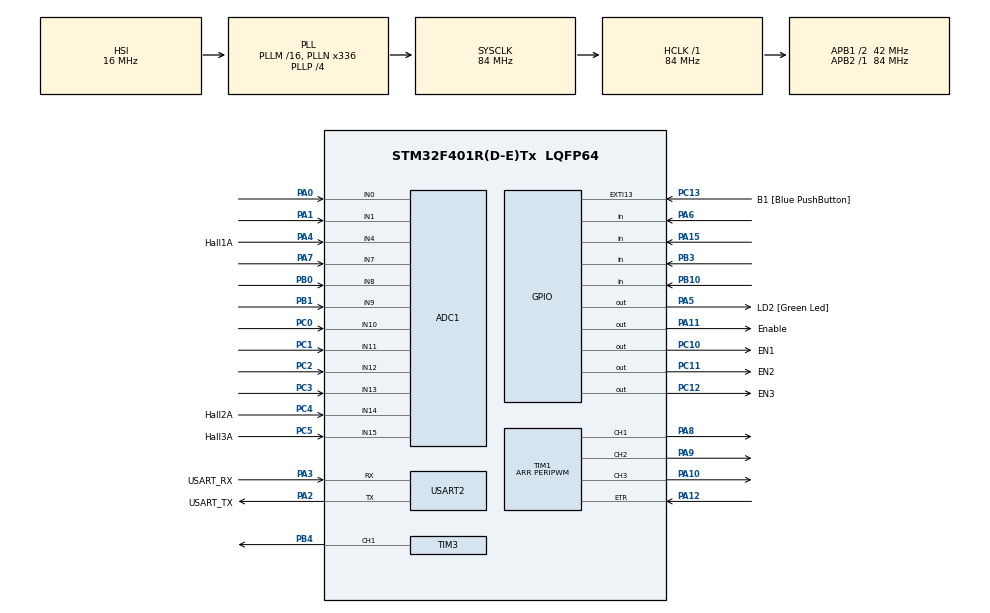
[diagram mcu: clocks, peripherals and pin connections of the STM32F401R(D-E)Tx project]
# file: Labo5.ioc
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ADC1.Channel-0\#ChannelRegularConversion=ADC_CHANNEL_9
ADC1.Channel-1\#ChannelRegularConversion=ADC_CHANNEL_4
ADC1.Channel-2\#ChannelRegularConversion=ADC_CHANNEL_14
ADC1.Channel-3\#ChannelRegularConversion=ADC_CHANNEL_15
ADC1.DMAContinuousRequests=ENABLE
ADC1.EOCSelection=ADC_EOC_SEQ_CONV
ADC1.ExternalTrigConv=ADC_EXTERNALTRIGCONV_T4_CC4
ADC1.ExternalTrigConvEdge=ADC_EXTERNALTRIGCONVEDGE_RISINGFALLING
ADC1.NbrOfConversion=4
ADC1.NbrOfConversionFlag=1
ADC1.Rank-0\#ChannelRegularConversion=1
ADC1.Rank-1\#ChannelRegularConversion=2
ADC1.Rank-2\#ChannelRegularConversion=3
ADC1.Rank-3\#ChannelRegularConversion=4
ADC1.SamplingTime-0\#ChannelRegularConversion=ADC_SAMPLETIME_15CYCLES
ADC1.SamplingTime-1\#ChannelRegularConversion=ADC_SAMPLETIME_84CYCLES
ADC1.SamplingTime-2\#ChannelRegularConversion=ADC_SAMPLETIME_84CYCLES
ADC1.SamplingTime-3\#ChannelRegularConversion=ADC_SAMPLETIME_84CYCLES
ADC1.ScanConvMode=ENABLE
ADC1.master=1
Dma.ADC1.0.Direction=DMA_PERIPH_TO_MEMORY
Dma.ADC1.0.FIFOMode=DMA_FIFOMODE_DISABLE
Dma.ADC1.0.Instance=DMA2_Stream0
Dma.ADC1.0.MemDataAlignment=DMA_MDATAALIGN_HALFWORD
Dma.ADC1.0.MemInc=DMA_MINC_ENABLE
Dma.ADC1.0.Mode=DMA_CIRCULAR
Dma.ADC1.0.PeriphDataAlignment=DMA_PDATAALIGN_HALFWORD
Dma.ADC1.0.PeriphInc=DMA_PINC_DISABLE
Dma.ADC1.0.Priority=DMA_PRIORITY_LOW
Dma.Request0=ADC1
Mcu.Family=STM32F4
Mcu.Name=STM32F401R(D-E)Tx
Mcu.Package=LQFP64
Mcu.UserConstants=PERIPWM,1050
NVIC.DMA2_Stream0_IRQn=true\:0\:0\:false\:false\:true\:false\:true\:true
NVIC.PriorityGroup=NVIC_PRIORITYGROUP_0
PA0-WKUP.GPIO_Mode=GPIO_MODE_ANALOG
PA0-WKUP.GPIO_PuPd=GPIO_NOPULL
PA0-WKUP.Signal=ADCx_IN0
PA1.Signal=ADCx_IN1
PA10.Signal=S_TIM1_CH3
PA11.GPIO_Label=Enable
PA11.Signal=GPIO_Output
PA12.Signal=S_TIM1_ETR
PA13.GPIO_Label=TMS
PA13.Mode=Serial_Wire
PA13.Signal=SYS_JTMS-SWDIO
PA14.GPIO_Label=TCK
PA14.Mode=Serial_Wire
PA14.Signal=SYS_JTCK-SWCLK
PA15.Signal=GPIO_Input
PA2.GPIO_Label=USART_TX
PA2.GPIO_Mode=GPIO_MODE_AF_PP
PA2.GPIO_PuPd=GPIO_NOPULL
PA2.GPIO_Speed=GPIO_SPEED_FREQ_LOW
PA2.Mode=Asynchronous
PA2.Signal=USART2_TX
PA3.GPIO_Label=USART_RX
PA3.GPIO_Mode=GPIO_MODE_AF_PP
PA3.GPIO_PuPd=GPIO_NOPULL
PA3.GPIO_Speed=GPIO_SPEED_FREQ_LOW
PA3.Mode=Asynchronous
PA3.Signal=USART2_RX
PA4.GPIO_Label=Hall1A
PA4.Signal=ADCx_IN4
PA5.GPIO_Label=LD2 [Green Led]
PA5.GPIO_Mode=GPIO_MODE_OUTPUT_PP
PA5.GPIO_PuPd=GPIO_NOPULL
PA5.GPIO_Speed=GPIO_SPEED_FREQ_LOW
PA5.Signal=GPIO_Output
PA6.Signal=GPIO_Input
PA7.Signal=ADCx_IN7
PA8.Signal=S_TIM1_CH1
PA9.Signal=S_TIM1_CH2
PB0.Signal=ADCx_IN8
PB1.Signal=ADCx_IN9
PB10.Signal=GPIO_Input
PB3.Signal=GPIO_Input
PB4.Signal=S_TIM3_CH1
PC0.Signal=ADCx_IN10
PC1.Signal=ADCx_IN11
PC10.GPIO_Label=EN1
PC10.Signal=GPIO_Output
PC11.GPIO_Label=EN2
PC11.Signal=GPIO_Output
PC12.GPIO_Label=EN3
PC12.Signal=GPIO_Output
PC13-ANTI_TAMP.GPIO_Label=B1 [Blue PushButton]
PC13-ANTI_TAMP.GPIO_ModeDefaultEXTI=GPIO_MODE_IT_FALLING
PC13-ANTI_TAMP.GPIO_PuPd=GPIO_NOPULL
PC13-ANTI_TAMP.Signal=GPXTI13
PC14-OSC32_IN.Mode=LSE-External-Oscillator
PC14-OSC32_IN.Signal=RCC_OSC32_IN
PC15-OSC32_OUT.Mode=LSE-External-Oscillator
PC15-OSC32_OUT.Signal=RCC_OSC32_OUT
PC2.Signal=ADCx_IN12
PC3.Signal=ADCx_IN13
PC4.GPIO_Label=Hall2A
PC4.Signal=ADCx_IN14
PC5.GPIO_Label=Hall3A
PC5.Signal=ADCx_IN15
PH0\ -\ OSC_IN.Mode=HSE-External-Clock-Source
PH0\ -\ OSC_IN.Signal=RCC_OSC_IN
PH1\ -\ OSC_OUT.Mode=HSE-External-Clock-Source
PH1\ -\ OSC_OUT.Signal=RCC_OSC_OUT
ProjectManager.HeapSize=0x200
ProjectManager.StackSize=0x400
ProjectManager.TargetToolchain=CMake
RCC.48MHZClocksFreq_Value=48000000
RCC.AHBFreq_Value=84000000
RCC.APB1CLKDivider=RCC_HCLK_DIV2
RCC.APB1Freq_Value=42000000
RCC.APB1TimFreq_Value=84000000
RCC.APB2Freq_Value=84000000
RCC.APB2TimFreq_Value=84000000
RCC.CortexFreq_Value=84000000
RCC.HCLKFreq_Value=84000000
RCC.HSE_VALUE=8000000
RCC.HSI_VALUE=16000000
RCC.PLLN=336
RCC.PLLP=RCC_PLLP_DIV4
RCC.PLLQ=7
RCC.SYSCLKFreq_VALUE=84000000
RCC.SYSCLKSource=RCC_SYSCLKSOURCE_PLLCLK
RCC.VCOOutputFreq_Value=336000000
SH.ADCx_IN0.0=ADC1_IN0,IN0
SH.ADCx_IN1.0=ADC1_IN1,IN1
SH.ADCx_IN10.0=ADC1_IN10,IN10
SH.ADCx_IN11.0=ADC1_IN11,IN11
SH.ADCx_IN12.0=ADC1_IN12,IN12
SH.ADCx_IN13.0=ADC1_IN13,IN13
SH.ADCx_IN14.0=ADC1_IN14,IN14
SH.ADCx_IN15.0=ADC1_IN15,IN15
SH.ADCx_IN4.0=ADC1_IN4,IN4
SH.ADCx_IN7.0=ADC1_IN7,IN7
SH.ADCx_IN8.0=ADC1_IN8,IN8
SH.ADCx_IN9.0=ADC1_IN9,IN9
SH.S_TIM1_CH1.0=TIM1_CH1,PWM Generation1 CH1
SH.S_TIM1_CH2.0=TIM1_CH2,PWM Generation2 CH2
SH.S_TIM1_CH3.0=TIM1_CH3,PWM Generation3 CH3
SH.S_TIM1_ETR.0=TIM1_ETR,ETR-as-clearing-source
SH.S_TIM3_CH1.0=TIM3_CH1,PWM Generation1 CH1
TIM1.Channel-PWM\ Generation1\ CH1=TIM_CHANNEL_1
TIM1.Channel-PWM\ Generation2\ CH2=TIM_CHANNEL_2
TIM1.Channel-PWM\ Generation3\ CH3=TIM_CHANNEL_3
TIM1.CounterMode=TIM_COUNTERMODE_CENTERALIGNED1
TIM1.Period=PERIPWM
TIM1.TIM_MasterOutputTrigger=TIM_TRGO_ENABLE
TIM1.TIM_MasterSlaveMode=TIM_MASTERSLAVEMODE_ENABLE
TIM3.Channel-PWM\ Generation1\ CH1=TIM_CHANNEL_1
TIM3.CounterMode=TIM_COUNTERMODE_CENTERALIGNED1
TIM3.Period=PERIPWM
TIM3.TIM_MasterOutputTrigger=TIM_TRGO_UPDATE
TIM3.TIM_MasterSlaveMode=TIM_MASTERSLAVEMODE_ENABLE
TIM4.Channel-Output\ Compare4\ No\ Output=TIM_CHANNEL_4
TIM4.CounterMode=TIM_COUNTERMODE_CENTERALIGNED1
TIM4.OCMode_4=TIM_OCMODE_TOGGLE
TIM4.Period=PERIPWM
TIM4.Prescaler=1
USART2.VirtualMode=VM_ASYNC
VP_TIM1_VS_ClockSourceINT.Mode=Internal
VP_TIM3_VS_ClockSourceINT.Mode=Internal
VP_TIM4_VS_ClockSourceINT.Mode=Internal
VP_TIM4_VS_ClockSourceITR.Mode=TriggerSource_ITR0
VP_TIM4_VS_ControllerModeGated.Mode=Gated Mode
VP_TIM4_VS_no_output4.Mode=Output Compare4 No Output
board=NUCLEO-F401RE

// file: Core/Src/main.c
/* USER CODE BEGIN Header */
/**
  ******************************************************************************
  * @file           : main.c
  * @brief          : Main program body
  ******************************************************************************
  * @attention
  *
  * <h2><center>&copy; Copyright (c) 2026 STMicroelectronics.
  * All rights reserved.</center></h2>
  *
  * This software component is licensed by ST under BSD 3-Clause license,
  * the "License"; You may not use this file except in compliance with the
  * License. You may obtain a copy of the License at:
  *                        opensource.org/licenses/BSD-3-Clause
  *
  ******************************************************************************
  */
/* USER CODE END Header */
#include "main.h"

/* USER CODE BEGIN Includes */
#include <stdio.h>
#include "calc_sinusM.h"
/* USER CODE END Includes */

ADC_HandleTypeDef hadc1;
DMA_HandleTypeDef hdma_adc1;

TIM_HandleTypeDef htim1;
TIM_HandleTypeDef htim3;
TIM_HandleTypeDef htim4;

UART_HandleTypeDef huart2;

/* USER CODE BEGIN PV */
uint16_t resultats[4];
uint16_t taux = PERIPWM;
float decalage = 110;
const float PI_s180 = 3.1415 / 180.0;
/* USER CODE END PV */

void SystemClock_Config(void);
static void MX_GPIO_Init(void);
static void MX_DMA_Init(void);
static void MX_USART2_UART_Init(void);
static void MX_ADC1_Init(void);
static void MX_TIM1_Init(void);
static void MX_TIM3_Init(void);
static void MX_TIM4_Init(void);

int main(void)
{

  /* MCU Configuration--------------------------------------------------------*/

  /* Reset of all peripherals, Initializes the Flash interface and the Systick. */

  HAL_Init();

  /* Configure the system clock */
  SystemClock_Config();

  /* Initialize all configured peripherals */
  MX_GPIO_Init();
  MX_DMA_Init();
  MX_USART2_UART_Init();
  MX_ADC1_Init();
  MX_TIM1_Init();
  MX_TIM3_Init();
  MX_TIM4_Init();
  /* USER CODE BEGIN 2 */
  HAL_TIM_PWM_Start(&htim3, TIM_CHANNEL_1);
  HAL_TIM_OC_Start(&htim4, TIM_CHANNEL_4);
  HAL_TIM_PWM_Start(&htim1, TIM_CHANNEL_1);
  HAL_TIM_PWM_Start(&htim1, TIM_CHANNEL_2);
  HAL_TIM_PWM_Start(&htim1, TIM_CHANNEL_3);
  HAL_ADC_Start_DMA(&hadc1, (uint32_t*)&resultats, 4);

  HAL_GPIO_WritePin(EN1_GPIO_Port,EN1_Pin,GPIO_PIN_SET);
  HAL_GPIO_WritePin(EN2_GPIO_Port,EN2_Pin,GPIO_PIN_SET);
  HAL_GPIO_WritePin(EN3_GPIO_Port,EN3_Pin,GPIO_PIN_SET);
  HAL_GPIO_WritePin(Enable_GPIO_Port,Enable_Pin,GPIO_PIN_SET);
  /* USER CODE END 2 */

  /* Infinite loop */
  /* USER CODE BEGIN WHILE */
  while (1)
  {
    calc_params_sinusM(PI_s180*decalage);
    /* USER CODE END WHILE */

  }
}

void SystemClock_Config(void)
{
  RCC_OscInitTypeDef RCC_OscInitStruct = {0};
  RCC_ClkInitTypeDef RCC_ClkInitStruct = {0};

  /** Configure the main internal regulator output voltage
  */
  __HAL_RCC_PWR_CLK_ENABLE();
  __HAL_PWR_VOLTAGESCALING_CONFIG(PWR_REGULATOR_VOLTAGE_SCALE2);
  /** Initializes the RCC Oscillators according to the specified parameters
  * in the RCC_OscInitTypeDef structure.
  */
  RCC_OscInitStruct.OscillatorType = RCC_OSCILLATORTYPE_HSI;
  RCC_OscInitStruct.HSIState = RCC_HSI_ON;
  RCC_OscInitStruct.HSICalibrationValue = RCC_HSICALIBRATION_DEFAULT;
  RCC_OscInitStruct.PLL.PLLState = RCC_PLL_ON;
  RCC_OscInitStruct.PLL.PLLSource = RCC_PLLSOURCE_HSI;
  RCC_OscInitStruct.PLL.PLLM = 16;
  RCC_OscInitStruct.PLL.PLLN = 336;
  RCC_OscInitStruct.PLL.PLLP = RCC_PLLP_DIV4;
  RCC_OscInitStruct.PLL.PLLQ = 7;
  if (HAL_RCC_OscConfig(&RCC_OscInitStruct) != HAL_OK)
  {
    Error_Handler();
  }
  /** Initializes the CPU, AHB and APB buses clocks
  */
  RCC_ClkInitStruct.ClockType = RCC_CLOCKTYPE_HCLK|RCC_CLOCKTYPE_SYSCLK
                              |RCC_CLOCKTYPE_PCLK1|RCC_CLOCKTYPE_PCLK2;
  RCC_ClkInitStruct.SYSCLKSource = RCC_SYSCLKSOURCE_PLLCLK;
  RCC_ClkInitStruct.AHBCLKDivider = RCC_SYSCLK_DIV1;
  RCC_ClkInitStruct.APB1CLKDivider = RCC_HCLK_DIV2;
  RCC_ClkInitStruct.APB2CLKDivider = RCC_HCLK_DIV1;

  if (HAL_RCC_ClockConfig(&RCC_ClkInitStruct, FLASH_LATENCY_2) != HAL_OK)
  {
    Error_Handler();
  }
}

static void MX_ADC1_Init(void)
{

  ADC_ChannelConfTypeDef sConfig = {0};

  /** Configure the global features of the ADC (Clock, Resolution, Data Alignment and number of conversion)
  */
  hadc1.Instance = ADC1;
  hadc1.Init.ClockPrescaler = ADC_CLOCK_SYNC_PCLK_DIV4;
  hadc1.Init.Resolution = ADC_RESOLUTION_12B;
  hadc1.Init.ScanConvMode = ENABLE;
  hadc1.Init.ContinuousConvMode = DISABLE;
  hadc1.Init.DiscontinuousConvMode = DISABLE;
  hadc1.Init.ExternalTrigConvEdge = ADC_EXTERNALTRIGCONVEDGE_RISINGFALLING;
  hadc1.Init.ExternalTrigConv = ADC_EXTERNALTRIGCONV_T4_CC4;
  hadc1.Init.DataAlign = ADC_DATAALIGN_RIGHT;
  hadc1.Init.NbrOfConversion = 4;
  hadc1.Init.DMAContinuousRequests = ENABLE;
  hadc1.Init.EOCSelection = ADC_EOC_SEQ_CONV;
  if (HAL_ADC_Init(&hadc1) != HAL_OK)
  {
    Error_Handler();
  }
  /** Configure for the selected ADC regular channel its corresponding rank in the sequencer and its sample time.
  */
  sConfig.Channel = ADC_CHANNEL_9;
  sConfig.Rank = 1;
  sConfig.SamplingTime = ADC_SAMPLETIME_15CYCLES;
  if (HAL_ADC_ConfigChannel(&hadc1, &sConfig) != HAL_OK)
  {
    Error_Handler();
  }
  /** Configure for the selected ADC regular channel its corresponding rank in the sequencer and its sample time.
  */
  sConfig.Channel = ADC_CHANNEL_4;
  sConfig.Rank = 2;
  sConfig.SamplingTime = ADC_SAMPLETIME_84CYCLES;
  if (HAL_ADC_ConfigChannel(&hadc1, &sConfig) != HAL_OK)
  {
    Error_Handler();
  }
  /** Configure for the selected ADC regular channel its corresponding rank in the sequencer and its sample time.
  */
  sConfig.Channel = ADC_CHANNEL_14;
  sConfig.Rank = 3;
  if (HAL_ADC_ConfigChannel(&hadc1, &sConfig) != HAL_OK)
  {
    Error_Handler();
  }
  /** Configure for the selected ADC regular channel its corresponding rank in the sequencer and its sample time.
  */
  sConfig.Channel = ADC_CHANNEL_15;
  sConfig.Rank = 4;
  if (HAL_ADC_ConfigChannel(&hadc1, &sConfig) != HAL_OK)
  {
    Error_Handler();
  }

}

static void MX_TIM1_Init(void)
{

  TIM_ClockConfigTypeDef sClockSourceConfig = {0};
  TIM_MasterConfigTypeDef sMasterConfig = {0};
  TIM_OC_InitTypeDef sConfigOC = {0};
  TIM_BreakDeadTimeConfigTypeDef sBreakDeadTimeConfig = {0};

  htim1.Instance = TIM1;
  htim1.Init.Prescaler = 0;
  htim1.Init.CounterMode = TIM_COUNTERMODE_CENTERALIGNED1;
  htim1.Init.Period = PERIPWM;
  htim1.Init.ClockDivision = TIM_CLOCKDIVISION_DIV1;
  htim1.Init.RepetitionCounter = 0;
  htim1.Init.AutoReloadPreload = TIM_AUTORELOAD_PRELOAD_DISABLE;
  if (HAL_TIM_Base_Init(&htim1) != HAL_OK)
  {
    Error_Handler();
  }
  sClockSourceConfig.ClockSource = TIM_CLOCKSOURCE_INTERNAL;
  if (HAL_TIM_ConfigClockSource(&htim1, &sClockSourceConfig) != HAL_OK)
  {
    Error_Handler();
  }
  if (HAL_TIM_PWM_Init(&htim1) != HAL_OK)
  {
    Error_Handler();
  }
  sMasterConfig.MasterOutputTrigger = TIM_TRGO_ENABLE;
  sMasterConfig.MasterSlaveMode = TIM_MASTERSLAVEMODE_ENABLE;
  if (HAL_TIMEx_MasterConfigSynchronization(&htim1, &sMasterConfig) != HAL_OK)
  {
    Error_Handler();
  }
  sConfigOC.OCMode = TIM_OCMODE_PWM1;
  sConfigOC.Pulse = 0;
  sConfigOC.OCPolarity = TIM_OCPOLARITY_HIGH;
  sConfigOC.OCNPolarity = TIM_OCNPOLARITY_HIGH;
  sConfigOC.OCFastMode = TIM_OCFAST_DISABLE;
  sConfigOC.OCIdleState = TIM_OCIDLESTATE_RESET;
  sConfigOC.OCNIdleState = TIM_OCNIDLESTATE_RESET;
  if (HAL_TIM_PWM_ConfigChannel(&htim1, &sConfigOC, TIM_CHANNEL_1) != HAL_OK)
  {
    Error_Handler();
  }
  if (HAL_TIM_PWM_ConfigChannel(&htim1, &sConfigOC, TIM_CHANNEL_2) != HAL_OK)
  {
    Error_Handler();
  }
  if (HAL_TIM_PWM_ConfigChannel(&htim1, &sConfigOC, TIM_CHANNEL_3) != HAL_OK)
  {
    Error_Handler();
  }
  sBreakDeadTimeConfig.OffStateRunMode = TIM_OSSR_DISABLE;
  sBreakDeadTimeConfig.OffStateIDLEMode = TIM_OSSI_DISABLE;
  sBreakDeadTimeConfig.LockLevel = TIM_LOCKLEVEL_OFF;
  sBreakDeadTimeConfig.DeadTime = 0;
  sBreakDeadTimeConfig.BreakState = TIM_BREAK_DISABLE;
  sBreakDeadTimeConfig.BreakPolarity = TIM_BREAKPOLARITY_HIGH;
  sBreakDeadTimeConfig.AutomaticOutput = TIM_AUTOMATICOUTPUT_DISABLE;
  if (HAL_TIMEx_ConfigBreakDeadTime(&htim1, &sBreakDeadTimeConfig) != HAL_OK)
  {
    Error_Handler();
  }
  HAL_TIM_MspPostInit(&htim1);

}

static void MX_TIM3_Init(void)
{

  TIM_ClockConfigTypeDef sClockSourceConfig = {0};
  TIM_MasterConfigTypeDef sMasterConfig = {0};
  TIM_OC_InitTypeDef sConfigOC = {0};

  htim3.Instance = TIM3;
  htim3.Init.Prescaler = 0;
  htim3.Init.CounterMode = TIM_COUNTERMODE_CENTERALIGNED1;
  htim3.Init.Period = PERIPWM;
  htim3.Init.ClockDivision = TIM_CLOCKDIVISION_DIV1;
  htim3.Init.AutoReloadPreload = TIM_AUTORELOAD_PRELOAD_DISABLE;
  if (HAL_TIM_Base_Init(&htim3) != HAL_OK)
  {
    Error_Handler();
  }
  sClockSourceConfig.ClockSource = TIM_CLOCKSOURCE_INTERNAL;
  if (HAL_TIM_ConfigClockSource(&htim3, &sClockSourceConfig) != HAL_OK)
  {
    Error_Handler();
  }
  if (HAL_TIM_PWM_Init(&htim3) != HAL_OK)
  {
    Error_Handler();
  }
  sMasterConfig.MasterOutputTrigger = TIM_TRGO_UPDATE;
  sMasterConfig.MasterSlaveMode = TIM_MASTERSLAVEMODE_ENABLE;
  if (HAL_TIMEx_MasterConfigSynchronization(&htim3, &sMasterConfig) != HAL_OK)
  {
    Error_Handler();
  }
  sConfigOC.OCMode = TIM_OCMODE_PWM1;
  sConfigOC.Pulse = 0;
  sConfigOC.OCPolarity = TIM_OCPOLARITY_HIGH;
  sConfigOC.OCFastMode = TIM_OCFAST_DISABLE;
  if (HAL_TIM_PWM_ConfigChannel(&htim3, &sConfigOC, TIM_CHANNEL_1) != HAL_OK)
  {
    Error_Handler();
  }
  HAL_TIM_MspPostInit(&htim3);

}

static void MX_TIM4_Init(void)
{

  TIM_ClockConfigTypeDef sClockSourceConfig = {0};
  TIM_SlaveConfigTypeDef sSlaveConfig = {0};
  TIM_MasterConfigTypeDef sMasterConfig = {0};
  TIM_OC_InitTypeDef sConfigOC = {0};

  htim4.Instance = TIM4;
  htim4.Init.Prescaler = 1;
  htim4.Init.CounterMode = TIM_COUNTERMODE_CENTERALIGNED1;
  htim4.Init.Period = PERIPWM;
  htim4.Init.ClockDivision = TIM_CLOCKDIVISION_DIV1;
  htim4.Init.AutoReloadPreload = TIM_AUTORELOAD_PRELOAD_DISABLE;
  if (HAL_TIM_Base_Init(&htim4) != HAL_OK)
  {
    Error_Handler();
  }
  sClockSourceConfig.ClockSource = TIM_CLOCKSOURCE_INTERNAL;
  if (HAL_TIM_ConfigClockSource(&htim4, &sClockSourceConfig) != HAL_OK)
  {
    Error_Handler();
  }
  if (HAL_TIM_OC_Init(&htim4) != HAL_OK)
  {
    Error_Handler();
  }
  sSlaveConfig.SlaveMode = TIM_SLAVEMODE_GATED;
  sSlaveConfig.InputTrigger = TIM_TS_ITR0;
  if (HAL_TIM_SlaveConfigSynchro(&htim4, &sSlaveConfig) != HAL_OK)
  {
    Error_Handler();
  }
  sMasterConfig.MasterOutputTrigger = TIM_TRGO_RESET;
  sMasterConfig.MasterSlaveMode = TIM_MASTERSLAVEMODE_DISABLE;
  if (HAL_TIMEx_MasterConfigSynchronization(&htim4, &sMasterConfig) != HAL_OK)
  {
    Error_Handler();
  }
  sConfigOC.OCMode = TIM_OCMODE_TOGGLE;
  sConfigOC.Pulse = 0;
  sConfigOC.OCPolarity = TIM_OCPOLARITY_HIGH;
  sConfigOC.OCFastMode = TIM_OCFAST_DISABLE;
  if (HAL_TIM_OC_ConfigChannel(&htim4, &sConfigOC, TIM_CHANNEL_4) != HAL_OK)
  {
    Error_Handler();
  }

}

static void MX_USART2_UART_Init(void)
{

  huart2.Instance = USART2;
  huart2.Init.BaudRate = 115200;
  huart2.Init.WordLength = UART_WORDLENGTH_8B;
  huart2.Init.StopBits = UART_STOPBITS_1;
  huart2.Init.Parity = UART_PARITY_NONE;
  huart2.Init.Mode = UART_MODE_TX_RX;
  huart2.Init.HwFlowCtl = UART_HWCONTROL_NONE;
  huart2.Init.OverSampling = UART_OVERSAMPLING_16;
  if (HAL_UART_Init(&huart2) != HAL_OK)
  {
    Error_Handler();
  }

}

static void MX_DMA_Init(void)
{

  /* DMA controller clock enable */
  __HAL_RCC_DMA2_CLK_ENABLE();

  /* DMA interrupt init */
  /* DMA2_Stream0_IRQn interrupt configuration */
  HAL_NVIC_SetPriority(DMA2_Stream0_IRQn, 0, 0);
  HAL_NVIC_EnableIRQ(DMA2_Stream0_IRQn);

}

static void MX_GPIO_Init(void)
{
  GPIO_InitTypeDef GPIO_InitStruct = {0};

  /* GPIO Ports Clock Enable */
  __HAL_RCC_GPIOC_CLK_ENABLE();
  __HAL_RCC_GPIOH_CLK_ENABLE();
  __HAL_RCC_GPIOA_CLK_ENABLE();
  __HAL_RCC_GPIOB_CLK_ENABLE();

  /*Configure GPIO pin Output Level */
  HAL_GPIO_WritePin(GPIOA, LD2_Pin|Enable_Pin, GPIO_PIN_RESET);

  /*Configure GPIO pin Output Level */
  HAL_GPIO_WritePin(GPIOC, EN1_Pin|EN2_Pin|EN3_Pin, GPIO_PIN_RESET);

  /*Configure GPIO pin : B1_Pin */
  GPIO_InitStruct.Pin = B1_Pin;
  GPIO_InitStruct.Mode = GPIO_MODE_IT_FALLING;
  GPIO_InitStruct.Pull = GPIO_NOPULL;
  HAL_GPIO_Init(B1_GPIO_Port, &GPIO_InitStruct);

  /*Configure GPIO pins : LD2_Pin Enable_Pin */
  GPIO_InitStruct.Pin = LD2_Pin|Enable_Pin;
  GPIO_InitStruct.Mode = GPIO_MODE_OUTPUT_PP;
  GPIO_InitStruct.Pull = GPIO_NOPULL;
  GPIO_InitStruct.Speed = GPIO_SPEED_FREQ_LOW;
  HAL_GPIO_Init(GPIOA, &GPIO_InitStruct);

  /*Configure GPIO pins : PA6 PA15 */
  GPIO_InitStruct.Pin = GPIO_PIN_6|GPIO_PIN_15;
  GPIO_InitStruct.Mode = GPIO_MODE_INPUT;
  GPIO_InitStruct.Pull = GPIO_NOPULL;
  HAL_GPIO_Init(GPIOA, &GPIO_InitStruct);

  /*Configure GPIO pins : PB10 PB3 */
  GPIO_InitStruct.Pin = GPIO_PIN_10|GPIO_PIN_3;
  GPIO_InitStruct.Mode = GPIO_MODE_INPUT;
  GPIO_InitStruct.Pull = GPIO_NOPULL;
  HAL_GPIO_Init(GPIOB, &GPIO_InitStruct);

  /*Configure GPIO pins : EN1_Pin EN2_Pin EN3_Pin */
  GPIO_InitStruct.Pin = EN1_Pin|EN2_Pin|EN3_Pin;
  GPIO_InitStruct.Mode = GPIO_MODE_OUTPUT_PP;
  GPIO_InitStruct.Pull = GPIO_NOPULL;
  GPIO_InitStruct.Speed = GPIO_SPEED_FREQ_LOW;
  HAL_GPIO_Init(GPIOC, &GPIO_InitStruct);

}

/* USER CODE BEGIN 4 */
void HAL_ADC_ConvCpltCallback(ADC_HandleTypeDef* AdcHandle)
{
  static int counter = 0;
  float halls[3];
  float sinusM[3];
  counter++;
  if (counter >= 20000) {
    HAL_GPIO_TogglePin(LD2_GPIO_Port, LD2_Pin);
    counter = 0;
  }

  decalage = ((int32_t)resultats[0]*360)>>12;

  hall_scale(resultats+1, halls);
  calc_sinusM(halls, sinusM);

  //taux = ((int32_t)resultats[0]*PERIPWM)>>12;
  uint16_t taux_s2 = taux>>1;

  TIM1->CCR1=(uint16_t)(sinusM[0]*taux_s2);
  TIM1->CCR2=(uint16_t)(sinusM[1]*taux_s2);
  TIM1->CCR3=(uint16_t)(sinusM[2]*taux_s2);

  TIM3->CCR1 = PERIPWM;
}
/* USER CODE END 4 */

void Error_Handler(void)
{
  __disable_irq();
  while (1)
  {
  }
}

/************************ (C) COPYRIGHT STMicroelectronics *****END OF FILE****/
